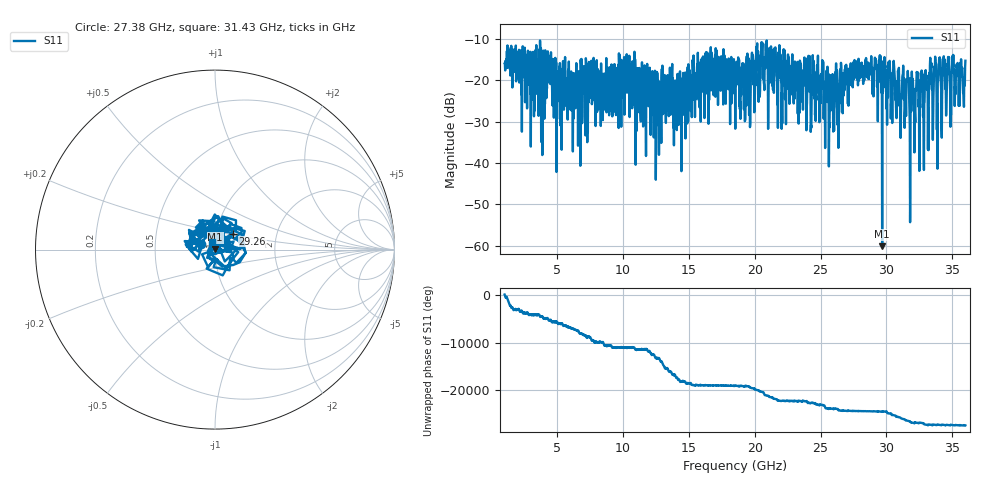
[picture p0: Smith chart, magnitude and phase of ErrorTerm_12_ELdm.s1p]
!  1-Port S-parameters saved by WinCal
! VAR NAME=Unknown labuser
! VAR Error Term Name=ELdm phys rcv port 1 phys src port 2
# Hz S RI R 50
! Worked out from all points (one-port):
!   1601 points, 1 GHz to 36 GHz, reference 50 ohm
!   lowest |S11| = -60.1 dB at 29.68 GHz (marker M1), VSWR 1.00, Z = 50.1 + j0.0828 ohm
!   |S11| at or under -10 dB: start of sweep to end of sweep
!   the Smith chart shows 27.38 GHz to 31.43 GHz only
!   S11 on the Smith chart (normalised r, x): 27.38 GHz: 0.85, +0.05; 29.26 GHz: 1.20, +0.22; 31.43 GHz: 0.97, +0.09
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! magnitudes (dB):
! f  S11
! 1 GHz  -15.9
! 1.919 GHz  -19.6
! 3.122 GHz  -13.7
! 3.581 GHz  -28.6
! 3.953 GHz  -14.6
! 4.412 GHz  -19.7
! 5.375 GHz  -23.5
! 9.75 GHz  -13.9
! 10.3 GHz  -23.0
! 12.64 GHz  -24.3
! 13.1 GHz  -24.2
! 14.12 GHz  -18.5
! 16.82 GHz  -20.7
! 18.5 GHz  -21.2
! 19.18 GHz  -27.0
! 20.82 GHz  -13.3
! 22.88 GHz  -23.0
! 25.15 GHz  -18.6
! 25.52 GHz  -16.7
! 27.25 GHz  -17.4
! 27.38 GHz  -21.4
! 29.26 GHz  -17.4
! 29.68 GHz  -60.1
! 31.43 GHz  -26.5
! 31.62 GHz  -17.7
! 31.95 GHz  -20.1
! 33.48 GHz  -19.5
! 36 GHz  -15.3
